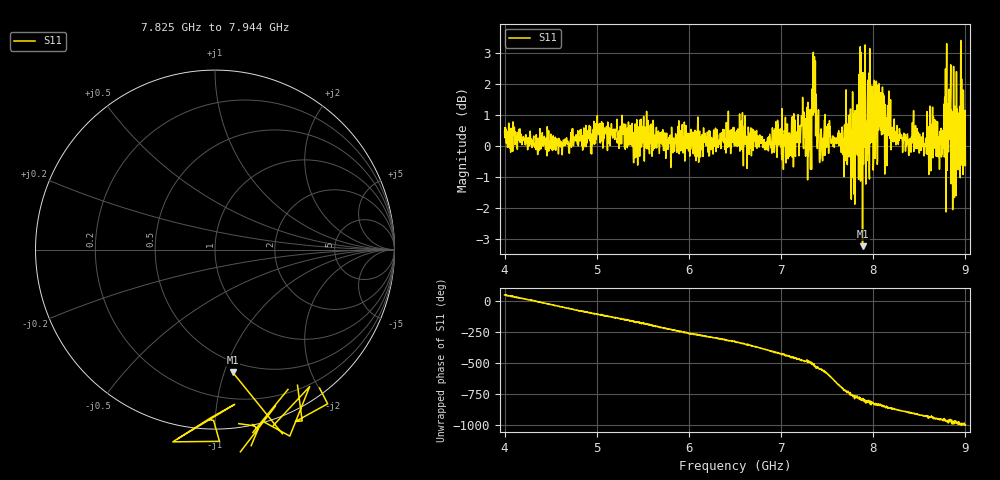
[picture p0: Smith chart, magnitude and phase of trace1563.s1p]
! Created with skrf 1.8.0 (http://scikit-rf.org).
# Hz S RI R 50.0
!freq ReS11 ImS11
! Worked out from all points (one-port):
!   1601 points, 4 GHz to 9 GHz, reference 50 ohm
!   lowest |S11| = -3.2 dB at 7.884 GHz (marker M1), VSWR 5.46, Z = 20.4 - j53.4 ohm
!   |S11| at or under -10 dB: nowhere
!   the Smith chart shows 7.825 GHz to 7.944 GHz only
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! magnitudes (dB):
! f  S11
! 4 GHz  0.4
! 4.625 GHz  -0.3
! 5.25 GHz  0.1
! 5.875 GHz  0.0
! 6.5 GHz  0.3
! 7.125 GHz  0.7
! 7.238 GHz  0.6
! 7.306 GHz  0.6
! 7.359 GHz  2.4
! 7.4 GHz  0.5
! 7.438 GHz  0.3
! 7.503 GHz  0.2
! 7.75 GHz  0.5
! 7.784 GHz  0.2
! 7.884 GHz  -3.2
! 7.909 GHz  1.4
! 7.962 GHz  3.1
! 7.981 GHz  0.1
! 7.988 GHz  1.9
! 8.097 GHz  0.8
! 8.216 GHz  0.6
! 8.375 GHz  0.2
! 8.738 GHz  0.6
! 8.819 GHz  1.0
! 8.875 GHz  0.3
! 8.953 GHz  -0.6
! 8.972 GHz  0.6
! 9 GHz  -0.6
